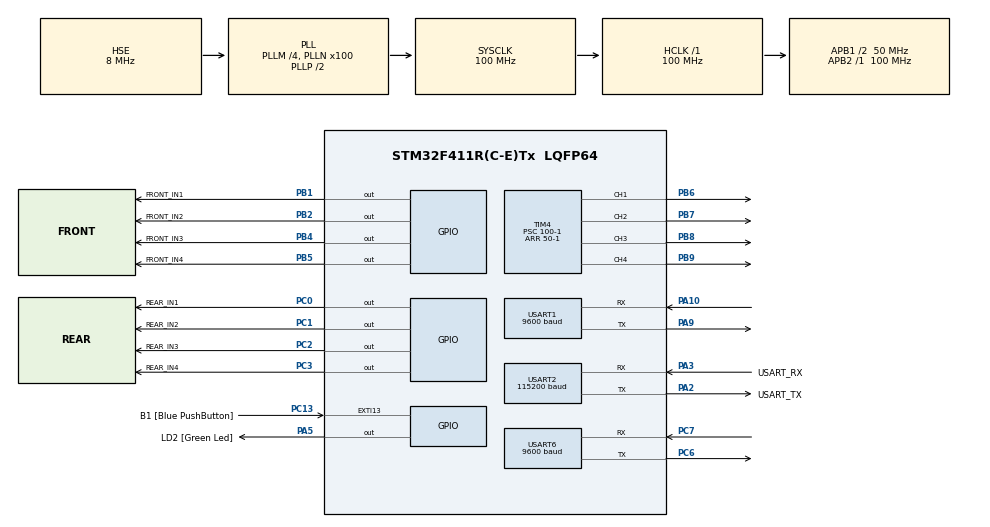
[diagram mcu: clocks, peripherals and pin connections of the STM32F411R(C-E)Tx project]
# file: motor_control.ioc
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Mcu.Family=STM32F4
Mcu.Name=STM32F411R(C-E)Tx
Mcu.Package=LQFP64
NVIC.EXTI15_10_IRQn=true\:0\:0\:false\:false\:true\:true\:true\:true
NVIC.PriorityGroup=NVIC_PRIORITYGROUP_0
NVIC.USART1_IRQn=true\:0\:0\:false\:false\:true\:true\:true\:true
NVIC.USART2_IRQn=true\:0\:0\:false\:false\:true\:true\:true\:true
NVIC.USART6_IRQn=true\:0\:0\:false\:false\:true\:true\:true\:true
PA10.Mode=Asynchronous
PA10.Signal=USART1_RX
PA13.GPIO_Label=TMS
PA13.Mode=Serial_Wire
PA13.Signal=SYS_JTMS-SWDIO
PA14.GPIO_Label=TCK
PA14.Mode=Serial_Wire
PA14.Signal=SYS_JTCK-SWCLK
PA2.GPIO_Label=USART_TX
PA2.Mode=Asynchronous
PA2.Signal=USART2_TX
PA3.GPIO_Label=USART_RX
PA3.Mode=Asynchronous
PA3.Signal=USART2_RX
PA5.GPIO_Label=LD2 [Green Led]
PA5.Signal=GPIO_Output
PA9.Mode=Asynchronous
PA9.Signal=USART1_TX
PB1.GPIO_Label=FRONT_IN1
PB1.Signal=GPIO_Output
PB2.GPIO_Label=FRONT_IN2
PB2.Signal=GPIO_Output
PB3.GPIO_Label=SWO
PB3.Signal=SYS_JTDO-SWO
PB4.GPIO_Label=FRONT_IN3
PB4.Signal=GPIO_Output
PB5.GPIO_Label=FRONT_IN4
PB5.Signal=GPIO_Output
PB6.Signal=S_TIM4_CH1
PB7.Signal=S_TIM4_CH2
PB8.Signal=S_TIM4_CH3
PB9.Signal=S_TIM4_CH4
PC0.GPIO_Label=REAR_IN1
PC0.Signal=GPIO_Output
PC1.GPIO_Label=REAR_IN2
PC1.Signal=GPIO_Output
PC13-ANTI_TAMP.GPIO_Label=B1 [Blue PushButton]
PC13-ANTI_TAMP.GPIO_ModeDefaultEXTI=GPIO_MODE_IT_FALLING
PC13-ANTI_TAMP.Signal=GPXTI13
PC14-OSC32_IN.Signal=RCC_OSC32_IN
PC15-OSC32_OUT.Signal=RCC_OSC32_OUT
PC2.GPIO_Label=REAR_IN3
PC2.Signal=GPIO_Output
PC3.GPIO_Label=REAR_IN4
PC3.Signal=GPIO_Output
PC6.Mode=Asynchronous
PC6.Signal=USART6_TX
PC7.Mode=Asynchronous
PC7.Signal=USART6_RX
PH0\ -\ OSC_IN.Mode=HSE-External-Clock-Source
PH0\ -\ OSC_IN.Signal=RCC_OSC_IN
PH1\ -\ OSC_OUT.Mode=HSE-External-Clock-Source
PH1\ -\ OSC_OUT.Signal=RCC_OSC_OUT
ProjectManager.HeapSize=0x200
ProjectManager.StackSize=0x400
ProjectManager.TargetToolchain=STM32CubeIDE
RCC.48MHZClocksFreq_Value=50000000
RCC.AHBFreq_Value=100000000
RCC.APB1CLKDivider=RCC_HCLK_DIV2
RCC.APB1Freq_Value=50000000
RCC.APB1TimFreq_Value=100000000
RCC.APB2Freq_Value=100000000
RCC.APB2TimFreq_Value=100000000
RCC.CortexFreq_Value=100000000
RCC.FLatency-AdvancedSettings=FLASH_LATENCY_3
RCC.HCLKFreq_Value=100000000
RCC.HSE_VALUE=8000000
RCC.HSI_VALUE=16000000
RCC.LSE_VALUE=32768
RCC.PLLM=4
RCC.PLLN=100
RCC.PLLSourceVirtual=RCC_PLLSOURCE_HSE
RCC.SYSCLKFreq_VALUE=100000000
RCC.SYSCLKSource=RCC_SYSCLKSOURCE_PLLCLK
RCC.VCOOutputFreq_Value=200000000
SH.S_TIM4_CH1.0=TIM4_CH1,PWM Generation1 CH1
SH.S_TIM4_CH2.0=TIM4_CH2,PWM Generation2 CH2
SH.S_TIM4_CH3.0=TIM4_CH3,PWM Generation3 CH3
SH.S_TIM4_CH4.0=TIM4_CH4,PWM Generation4 CH4
TIM4.Channel-PWM\ Generation1\ CH1=TIM_CHANNEL_1
TIM4.Channel-PWM\ Generation2\ CH2=TIM_CHANNEL_2
TIM4.Channel-PWM\ Generation3\ CH3=TIM_CHANNEL_3
TIM4.Channel-PWM\ Generation4\ CH4=TIM_CHANNEL_4
TIM4.Period=50-1
TIM4.Prescaler=100-1
USART1.BaudRate=9600
USART1.VirtualMode=VM_ASYNC
USART2.BaudRate=115200
USART2.VirtualMode=VM_ASYNC
USART6.BaudRate=9600
USART6.VirtualMode=VM_ASYNC
board=NUCLEO-F411RE

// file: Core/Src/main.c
/* USER CODE BEGIN Header */
/**
  ******************************************************************************
  * @file           : main.c
  * @brief          : Main program body
  ******************************************************************************
  * @attention
  *
  * Copyright (c) 2026 STMicroelectronics.
  * All rights reserved.
  *
  * This software is licensed under terms that can be found in the LICENSE file
  * in the root directory of this software component.
  * If no LICENSE file comes with this software, it is provided AS-IS.
  *
  ******************************************************************************
  */
  /* USER CODE END Header */
  /* Includes ------------------------------------------------------------------*/
#include "main.h"

/* USER CODE BEGIN Includes */
#include <string.h>
#include <stdio.h>
/* USER CODE END Includes */

/* USER CODE BEGIN PD */
#ifdef __GNUC__
/* With GCC, small printf (option LD Linker->Libraries->Small printf
   set to 'Yes') calls __io_putchar() */
#define PUTCHAR_PROTOTYPE int __io_putchar(int ch)
#else
#define PUTCHAR_PROTOTYPE int fputc(int ch, FILE *f)
#endif /* __GNUC__ */
#define ARR_CNT 5
#define CMD_SIZE 50

#define LEFT ((uint8_t)rx1Data[1])
#define CENTER ((uint8_t)rx1Data[2])
#define RIGHT ((uint8_t)rx1Data[3])
/* USER CODE END PD */

TIM_HandleTypeDef htim4;

UART_HandleTypeDef huart1;
UART_HandleTypeDef huart2;
UART_HandleTypeDef huart6;

/* USER CODE BEGIN PV */
uint8_t rx1char;
uint8_t rx2char;
uint8_t rx6char;

volatile uint8_t frontViewFlag = 0xFF;
volatile uint8_t rxFrontDataFlag = 0;
volatile uint8_t rxSideDataFlag = 0;
volatile uint8_t uart1StopFlag = 0;
volatile uint8_t rx1Data[4];
volatile uint8_t rx2Data[4];
volatile uint8_t frontData;
volatile uint8_t collisionFlag = 0x00;

volatile uint8_t btnPressedFlag = 0;

volatile uint8_t driveDirection = 0xFF;

volatile int rx_idx = 0;

/* USER CODE END PV */

void SystemClock_Config(void);
static void MX_GPIO_Init(void);
static void MX_TIM4_Init(void);
static void MX_USART2_UART_Init(void);
static void MX_USART6_UART_Init(void);
static void MX_USART1_UART_Init(void);
/* USER CODE BEGIN PFP */

void setMotorSpeed(int motor_idx, int speed);
void colision_Event();
void side_Event();
void front_Event(uint8_t dist);
void go_Straight();
void turn_Left();
void turn_Right();

/* USER CODE END PFP */

int main(void)
{

	/* MCU Configuration--------------------------------------------------------*/

	/* Reset of all peripherals, Initializes the Flash interface and the Systick. */
	HAL_Init();

	/* Configure the system clock */
	SystemClock_Config();

	/* Initialize all configured peripherals */
	MX_GPIO_Init();
	MX_TIM4_Init();
	MX_USART2_UART_Init();
	MX_USART6_UART_Init();
	MX_USART1_UART_Init();
	/* USER CODE BEGIN 2 */
	HAL_TIM_PWM_Start(&htim4, TIM_CHANNEL_1); // 모터 1
	HAL_TIM_PWM_Start(&htim4, TIM_CHANNEL_2); // 모터 2
	HAL_TIM_PWM_Start(&htim4, TIM_CHANNEL_3); // 모터 3
	HAL_TIM_PWM_Start(&htim4, TIM_CHANNEL_4); // 모터 4

	HAL_UART_Receive_IT(&huart1, &rx1char, 1);
	HAL_UART_Receive_IT(&huart2, &rx2char, 1);
	HAL_UART_Receive_IT(&huart6, &rx6char, 1);

	go_Straight();    // 일단 출발
	/* USER CODE END 2 */

	/* Infinite loop */
	/* USER CODE BEGIN WHILE */
	while (1)
	{

		if (btnPressedFlag == 1)
		{
			btnPressedFlag = 0;
			HAL_GPIO_TogglePin(LD2_GPIO_Port, LD2_Pin);

			driveDirection = 0xFF;
			HAL_UART_Transmit(&huart6, (uint8_t*)&driveDirection, 1, 10);
		}

		if (collisionFlag) {

			colision_Event();

		}

		else {

			if (rxFrontDataFlag)
			{
				uart1StopFlag = 0xFF;
				uint8_t currentDist = frontData;

				rxFrontDataFlag = 0;

				front_Event(currentDist);
				uart1StopFlag = 0x00;
			}

			if (rxSideDataFlag)
			{
				uart1StopFlag = 0xFF;
				rxSideDataFlag = 0;
				side_Event();
				uart1StopFlag = 0x00;
			}
		}

		/* USER CODE END WHILE */

	}
}

void SystemClock_Config(void)
{
	RCC_OscInitTypeDef RCC_OscInitStruct = { 0 };
	RCC_ClkInitTypeDef RCC_ClkInitStruct = { 0 };

	/** Configure the main internal regulator output voltage
	*/
	__HAL_RCC_PWR_CLK_ENABLE();
	__HAL_PWR_VOLTAGESCALING_CONFIG(PWR_REGULATOR_VOLTAGE_SCALE1);

	/** Initializes the RCC Oscillators according to the specified parameters
	* in the RCC_OscInitTypeDef structure.
	*/
	RCC_OscInitStruct.OscillatorType = RCC_OSCILLATORTYPE_HSE;
	RCC_OscInitStruct.HSEState = RCC_HSE_BYPASS;
	RCC_OscInitStruct.PLL.PLLState = RCC_PLL_ON;
	RCC_OscInitStruct.PLL.PLLSource = RCC_PLLSOURCE_HSE;
	RCC_OscInitStruct.PLL.PLLM = 4;
	RCC_OscInitStruct.PLL.PLLN = 100;
	RCC_OscInitStruct.PLL.PLLP = RCC_PLLP_DIV2;
	RCC_OscInitStruct.PLL.PLLQ = 4;
	if (HAL_RCC_OscConfig(&RCC_OscInitStruct) != HAL_OK)
	{
		Error_Handler();
	}

	/** Initializes the CPU, AHB and APB buses clocks
	*/
	RCC_ClkInitStruct.ClockType = RCC_CLOCKTYPE_HCLK | RCC_CLOCKTYPE_SYSCLK
		| RCC_CLOCKTYPE_PCLK1 | RCC_CLOCKTYPE_PCLK2;
	RCC_ClkInitStruct.SYSCLKSource = RCC_SYSCLKSOURCE_PLLCLK;
	RCC_ClkInitStruct.AHBCLKDivider = RCC_SYSCLK_DIV1;
	RCC_ClkInitStruct.APB1CLKDivider = RCC_HCLK_DIV2;
	RCC_ClkInitStruct.APB2CLKDivider = RCC_HCLK_DIV1;

	if (HAL_RCC_ClockConfig(&RCC_ClkInitStruct, FLASH_LATENCY_3) != HAL_OK)
	{
		Error_Handler();
	}
}

static void MX_TIM4_Init(void)
{

	TIM_MasterConfigTypeDef sMasterConfig = { 0 };
	TIM_OC_InitTypeDef sConfigOC = { 0 };

	htim4.Instance = TIM4;
	htim4.Init.Prescaler = 100 - 1;
	htim4.Init.CounterMode = TIM_COUNTERMODE_UP;
	htim4.Init.Period = 50 - 1;
	htim4.Init.ClockDivision = TIM_CLOCKDIVISION_DIV1;
	htim4.Init.AutoReloadPreload = TIM_AUTORELOAD_PRELOAD_DISABLE;
	if (HAL_TIM_PWM_Init(&htim4) != HAL_OK)
	{
		Error_Handler();
	}
	sMasterConfig.MasterOutputTrigger = TIM_TRGO_RESET;
	sMasterConfig.MasterSlaveMode = TIM_MASTERSLAVEMODE_DISABLE;
	if (HAL_TIMEx_MasterConfigSynchronization(&htim4, &sMasterConfig) != HAL_OK)
	{
		Error_Handler();
	}
	sConfigOC.OCMode = TIM_OCMODE_PWM1;
	sConfigOC.Pulse = 0;
	sConfigOC.OCPolarity = TIM_OCPOLARITY_HIGH;
	sConfigOC.OCFastMode = TIM_OCFAST_DISABLE;
	if (HAL_TIM_PWM_ConfigChannel(&htim4, &sConfigOC, TIM_CHANNEL_1) != HAL_OK)
	{
		Error_Handler();
	}
	if (HAL_TIM_PWM_ConfigChannel(&htim4, &sConfigOC, TIM_CHANNEL_2) != HAL_OK)
	{
		Error_Handler();
	}
	if (HAL_TIM_PWM_ConfigChannel(&htim4, &sConfigOC, TIM_CHANNEL_3) != HAL_OK)
	{
		Error_Handler();
	}
	if (HAL_TIM_PWM_ConfigChannel(&htim4, &sConfigOC, TIM_CHANNEL_4) != HAL_OK)
	{
		Error_Handler();
	}
	HAL_TIM_MspPostInit(&htim4);

}

static void MX_USART1_UART_Init(void)
{

	huart1.Instance = USART1;
	huart1.Init.BaudRate = 9600;
	huart1.Init.WordLength = UART_WORDLENGTH_8B;
	huart1.Init.StopBits = UART_STOPBITS_1;
	huart1.Init.Parity = UART_PARITY_NONE;
	huart1.Init.Mode = UART_MODE_TX_RX;
	huart1.Init.HwFlowCtl = UART_HWCONTROL_NONE;
	huart1.Init.OverSampling = UART_OVERSAMPLING_16;
	if (HAL_UART_Init(&huart1) != HAL_OK)
	{
		Error_Handler();
	}

}

static void MX_USART2_UART_Init(void)
{

	huart2.Instance = USART2;
	huart2.Init.BaudRate = 115200;
	huart2.Init.WordLength = UART_WORDLENGTH_8B;
	huart2.Init.StopBits = UART_STOPBITS_1;
	huart2.Init.Parity = UART_PARITY_NONE;
	huart2.Init.Mode = UART_MODE_TX_RX;
	huart2.Init.HwFlowCtl = UART_HWCONTROL_NONE;
	huart2.Init.OverSampling = UART_OVERSAMPLING_16;
	if (HAL_UART_Init(&huart2) != HAL_OK)
	{
		Error_Handler();
	}

}

static void MX_USART6_UART_Init(void)
{

	huart6.Instance = USART6;
	huart6.Init.BaudRate = 9600;
	huart6.Init.WordLength = UART_WORDLENGTH_8B;
	huart6.Init.StopBits = UART_STOPBITS_1;
	huart6.Init.Parity = UART_PARITY_NONE;
	huart6.Init.Mode = UART_MODE_TX_RX;
	huart6.Init.HwFlowCtl = UART_HWCONTROL_NONE;
	huart6.Init.OverSampling = UART_OVERSAMPLING_16;
	if (HAL_UART_Init(&huart6) != HAL_OK)
	{
		Error_Handler();
	}

}

static void MX_GPIO_Init(void)
{
	GPIO_InitTypeDef GPIO_InitStruct = { 0 };

	/* GPIO Ports Clock Enable */
	__HAL_RCC_GPIOC_CLK_ENABLE();
	__HAL_RCC_GPIOH_CLK_ENABLE();
	__HAL_RCC_GPIOA_CLK_ENABLE();
	__HAL_RCC_GPIOB_CLK_ENABLE();

	/*Configure GPIO pin Output Level */
	HAL_GPIO_WritePin(GPIOC, REAR_IN1_Pin | REAR_IN2_Pin | REAR_IN3_Pin | REAR_IN4_Pin, GPIO_PIN_RESET);

	/*Configure GPIO pin Output Level */
	HAL_GPIO_WritePin(LD2_GPIO_Port, LD2_Pin, GPIO_PIN_RESET);

	/*Configure GPIO pin Output Level */
	HAL_GPIO_WritePin(GPIOB, FRONT_IN1_Pin | FRONT_IN2_Pin | FRONT_IN3_Pin | FRONT_IN4_Pin, GPIO_PIN_RESET);

	/*Configure GPIO pin : B1_Pin */
	GPIO_InitStruct.Pin = B1_Pin;
	GPIO_InitStruct.Mode = GPIO_MODE_IT_FALLING;
	GPIO_InitStruct.Pull = GPIO_NOPULL;
	HAL_GPIO_Init(B1_GPIO_Port, &GPIO_InitStruct);

	/*Configure GPIO pins : REAR_IN1_Pin REAR_IN2_Pin REAR_IN3_Pin REAR_IN4_Pin */
	GPIO_InitStruct.Pin = REAR_IN1_Pin | REAR_IN2_Pin | REAR_IN3_Pin | REAR_IN4_Pin;
	GPIO_InitStruct.Mode = GPIO_MODE_OUTPUT_PP;
	GPIO_InitStruct.Pull = GPIO_NOPULL;
	GPIO_InitStruct.Speed = GPIO_SPEED_FREQ_LOW;
	HAL_GPIO_Init(GPIOC, &GPIO_InitStruct);

	/*Configure GPIO pin : LD2_Pin */
	GPIO_InitStruct.Pin = LD2_Pin;
	GPIO_InitStruct.Mode = GPIO_MODE_OUTPUT_PP;
	GPIO_InitStruct.Pull = GPIO_NOPULL;
	GPIO_InitStruct.Speed = GPIO_SPEED_FREQ_LOW;
	HAL_GPIO_Init(LD2_GPIO_Port, &GPIO_InitStruct);

	/*Configure GPIO pins : FRONT_IN1_Pin FRONT_IN2_Pin FRONT_IN3_Pin FRONT_IN4_Pin */
	GPIO_InitStruct.Pin = FRONT_IN1_Pin | FRONT_IN2_Pin | FRONT_IN3_Pin | FRONT_IN4_Pin;
	GPIO_InitStruct.Mode = GPIO_MODE_OUTPUT_PP;
	GPIO_InitStruct.Pull = GPIO_NOPULL;
	GPIO_InitStruct.Speed = GPIO_SPEED_FREQ_LOW;
	HAL_GPIO_Init(GPIOB, &GPIO_InitStruct);

	/* EXTI interrupt init*/
	HAL_NVIC_SetPriority(EXTI15_10_IRQn, 0, 0);
	HAL_NVIC_EnableIRQ(EXTI15_10_IRQn);

}

/* USER CODE BEGIN 4 */
void setMotorSpeed(int motor_idx, int speed) {
	if (speed > 50) speed = 50; // ARR 최대값 제한
	if (speed < 0) speed = 0;

	switch (motor_idx) {
	case 1:
		__HAL_TIM_SET_COMPARE(&htim4, TIM_CHANNEL_1, speed);
		break;
	case 2:
		__HAL_TIM_SET_COMPARE(&htim4, TIM_CHANNEL_2, speed);
		break;
	case 3:
		__HAL_TIM_SET_COMPARE(&htim4, TIM_CHANNEL_3, speed);
		break;
	case 4:
		__HAL_TIM_SET_COMPARE(&htim4, TIM_CHANNEL_4, speed);
		break;
	}
}

void colision_Event()
{

	//모터 정지
	setMotorSpeed(1, 0);
	setMotorSpeed(2, 0);
	setMotorSpeed(3, 0);
	setMotorSpeed(4, 0);

}
PUTCHAR_PROTOTYPE
{
	/* Place your implementation of fputc here */
	/* e.g. write a character to the USART6 and Loop until the end of transmission */
	HAL_UART_Transmit(&huart2, (uint8_t*)&ch, 1, 0xFFFF);

	return ch;
}

void HAL_UART_RxCpltCallback(UART_HandleTypeDef* huart)
{

	if (huart->Instance == USART1) {

		if (!uart1StopFlag)
		{
			if (frontViewFlag == 0xFF) {
				frontData = rx1char;
				rxFrontDataFlag = 0xFF;
			}
			else {
				rx1Data[rx_idx] = rx1char;
				if (rx1Data[0] == 0xFF) {
					if (rx_idx == 3)
					{
						rxSideDataFlag = 0xFF;
						rx_idx = 0;
					}
					else
					{
						rx_idx++;
					}
				}
				else {
					rx_idx = 0;
				}
			}

		}

		HAL_UART_Receive_IT(&huart1, &rx1char, 1);

	}
	if (huart->Instance == USART6)
	{
		if (rx6char == 0xFF && collisionFlag == 0x00) {
			collisionFlag = 0xFF;

			colision_Event();
		}
		rx6char = 0x00;

		HAL_UART_Receive_IT(&huart6, &rx6char, 1);
	}
}

void side_Event() {

	uint32_t startTick;

	if (CENTER > 30) {

		frontViewFlag = 0xFF;

		HAL_UART_Transmit(&huart1, (uint8_t*)&frontViewFlag, 1, 10);

		//정상 주행
		driveDirection = 0xFF;
		HAL_UART_Transmit(&huart6, (uint8_t*)&driveDirection, 1, 10);

		go_Straight();

		rx1Data[0] = 0;
		rx1Data[1] = 0;
		rx1Data[2] = 0;
		rx1Data[3] = 0;
		return;

	}

	else {

		// 1. 왼쪽이 더 가까운 경우 (왼쪽이 위험 -> 오른쪽으로 회피)
		if (LEFT <= RIGHT)
		{

			//오른쪽 회피기동
			driveDirection = 0x0F;

			HAL_UART_Transmit(&huart6, (uint8_t*)&driveDirection, 1, 20);

			turn_Right();

			startTick = HAL_GetTick();
			while ((HAL_GetTick() - startTick) < 500) {
				if (collisionFlag == 0xFF) return; // 대기 중 충돌 감지 시 즉시 탈출
			}

			// 모터 정지
			setMotorSpeed(1, 0);
			setMotorSpeed(2, 0);
			setMotorSpeed(3, 0);
			setMotorSpeed(4, 0);

			startTick = HAL_GetTick();
			while ((HAL_GetTick() - startTick) < 400) {
				if (collisionFlag == 0xFF) return; // 대기 중 충돌 감지 시 즉시 탈출
			}

		}
		// 2. 오른쪽이 더 가까운 경우 (오른쪽이 위험 -> 왼쪽으로 회피)
		else
		{
			//왼쪽 회피기동
			driveDirection = 0xF0;

			//IMU 아두이노로 전송
			HAL_UART_Transmit(&huart6, (uint8_t*)&driveDirection, 1, 20);

			turn_Left();

			startTick = HAL_GetTick();
			while ((HAL_GetTick() - startTick) < 500) {
				if (collisionFlag == 0xFF) return; // 대기 중 충돌 감지 시 즉시 탈출
			}

			// 모터 정지
			setMotorSpeed(1, 0);
			setMotorSpeed(2, 0);
			setMotorSpeed(3, 0);
			setMotorSpeed(4, 0);

			startTick = HAL_GetTick();
			while ((HAL_GetTick() - startTick) < 400) {
				if (collisionFlag == 0xFF) return; // 대기 중 충돌 감지 시 즉시 탈출
			}

		}

	}

	rx1Data[0] = 0;
	rx1Data[1] = 0;
	rx1Data[2] = 0;
	rx1Data[3] = 0;

	return;
}

void front_Event(uint8_t dist) {

	if (dist < 30) {

		rx_idx = 0;          // 인덱스 초기화 (필수)
		frontViewFlag = 0x01; // 플래그 변경

		// 아두이노로 전송
		HAL_UART_Transmit(&huart1, (uint8_t*)&frontViewFlag, 1, 20);

		// 모터 정지
		setMotorSpeed(1, 0);
		setMotorSpeed(2, 0);
		setMotorSpeed(3, 0);
		setMotorSpeed(4, 0);

	}
	else {
		// 장애물 없음 -> 계속 직진
		HAL_UART_Transmit(&huart1, (uint8_t*)&frontViewFlag, 1, 20);
		go_Straight();
	}

	return;
}

void go_Straight() {

	HAL_GPIO_WritePin(REAR_IN1_GPIO_Port, REAR_IN1_Pin, GPIO_PIN_SET);
	HAL_GPIO_WritePin(REAR_IN2_GPIO_Port, REAR_IN2_Pin, GPIO_PIN_RESET);

	HAL_GPIO_WritePin(REAR_IN3_GPIO_Port, REAR_IN3_Pin, GPIO_PIN_SET);
	HAL_GPIO_WritePin(REAR_IN4_GPIO_Port, REAR_IN4_Pin, GPIO_PIN_RESET);

	HAL_GPIO_WritePin(FRONT_IN1_GPIO_Port, FRONT_IN1_Pin, GPIO_PIN_SET);
	HAL_GPIO_WritePin(FRONT_IN2_GPIO_Port, FRONT_IN2_Pin, GPIO_PIN_RESET);

	HAL_GPIO_WritePin(FRONT_IN3_GPIO_Port, FRONT_IN3_Pin, GPIO_PIN_SET);
	HAL_GPIO_WritePin(FRONT_IN4_GPIO_Port, FRONT_IN4_Pin, GPIO_PIN_RESET);

	setMotorSpeed(1, 32);
	setMotorSpeed(2, 32);
	setMotorSpeed(3, 32); //33
	setMotorSpeed(4, 32); //33
}

void turn_Left() {

	//4번모터
	HAL_GPIO_WritePin(REAR_IN1_GPIO_Port, REAR_IN1_Pin, GPIO_PIN_RESET);
	HAL_GPIO_WritePin(REAR_IN2_GPIO_Port, REAR_IN2_Pin, GPIO_PIN_SET);

	//3번 모터 후진
	HAL_GPIO_WritePin(REAR_IN3_GPIO_Port, REAR_IN3_Pin, GPIO_PIN_RESET);
	HAL_GPIO_WritePin(REAR_IN4_GPIO_Port, REAR_IN4_Pin, GPIO_PIN_SET);

	//1번 모터
	HAL_GPIO_WritePin(FRONT_IN1_GPIO_Port, FRONT_IN1_Pin, GPIO_PIN_SET);
	HAL_GPIO_WritePin(FRONT_IN2_GPIO_Port, FRONT_IN2_Pin, GPIO_PIN_RESET);

	//2번 모터 전진
	HAL_GPIO_WritePin(FRONT_IN3_GPIO_Port, FRONT_IN3_Pin, GPIO_PIN_SET);
	HAL_GPIO_WritePin(FRONT_IN4_GPIO_Port, FRONT_IN4_Pin, GPIO_PIN_RESET);

	setMotorSpeed(1, 0);
	setMotorSpeed(2, 42);
	setMotorSpeed(3, 42);
	setMotorSpeed(4, 0);
}

void turn_Right() {

	//4번 코터 후진
	HAL_GPIO_WritePin(REAR_IN1_GPIO_Port, REAR_IN1_Pin, GPIO_PIN_RESET);
	HAL_GPIO_WritePin(REAR_IN2_GPIO_Port, REAR_IN2_Pin, GPIO_PIN_SET);

	//3번 모터
	HAL_GPIO_WritePin(REAR_IN3_GPIO_Port, REAR_IN3_Pin, GPIO_PIN_SET);
	HAL_GPIO_WritePin(REAR_IN4_GPIO_Port, REAR_IN4_Pin, GPIO_PIN_RESET);

	//1번 모터 전진
	HAL_GPIO_WritePin(FRONT_IN1_GPIO_Port, FRONT_IN1_Pin, GPIO_PIN_SET);
	HAL_GPIO_WritePin(FRONT_IN2_GPIO_Port, FRONT_IN2_Pin, GPIO_PIN_RESET);

	//2번 모터
	HAL_GPIO_WritePin(FRONT_IN3_GPIO_Port, FRONT_IN3_Pin, GPIO_PIN_SET);
	HAL_GPIO_WritePin(FRONT_IN4_GPIO_Port, FRONT_IN4_Pin, GPIO_PIN_RESET);

	setMotorSpeed(1, 42);
	setMotorSpeed(2, 0);
	setMotorSpeed(3, 0);
	setMotorSpeed(4, 42);
}

void HAL_GPIO_EXTI_Callback(uint16_t GPIO_Pin)
{
	if (GPIO_Pin == B1_Pin)
	{
		// 충돌 플래그 해제
		collisionFlag = 0;

		btnPressedFlag = 1;

	}
}

void HAL_UART_ErrorCallback(UART_HandleTypeDef* huart)
{
	if (huart->Instance == USART1)
	{
		HAL_UART_Receive_IT(&huart1, &rx1char, 1);
	}

	if (huart->Instance == USART6)
	{
		HAL_UART_Receive_IT(&huart6, &rx6char, 1);
	}
}
/* USER CODE END 4 */

void Error_Handler(void)
{
	__disable_irq();
	while (1)
	{
	}
}
